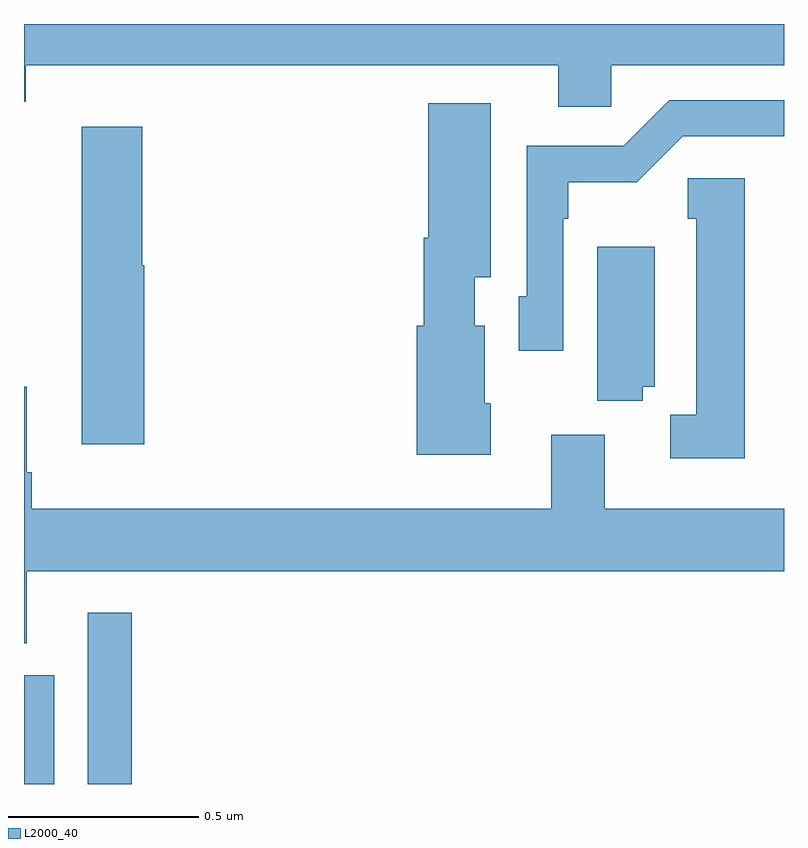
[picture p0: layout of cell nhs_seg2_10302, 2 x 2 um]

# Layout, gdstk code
import gdstk
lib = gdstk.Library(unit=1e-6, precision=1e-09)
def R(c, l, rs):  # rectangles x0, y0, x1, y1
    for r in rs: c.add(gdstk.rectangle(r[:2], r[2:], *l))
def P(c, l, *ps):  # polygons
    for p in ps: c.add(gdstk.Polygon(p, *l))
L2000_40 = (2000, 40)

nhs_seg2_10302 = lib.new_cell('nhs_seg2_10302')
R(nhs_seg2_10302, L2000_40, [(240,589.8,240.079,590.086), (240.168,589.8,240.284,590.251)])
P(nhs_seg2_10302, L2000_40, [(241.545,591.692),(242,591.692),(242,591.8),(240,591.8),(240,591.596),(240.005,591.596),(240.005,591.692),(241.406,591.692),(241.406,591.582),(241.545,591.582)],
  [(241.419,591.287),(241.432,591.287),(241.432,591.383),(241.613,591.383),(241.734,591.504),(242,591.504),(242,591.6),(241.698,591.6),(241.578,591.48),(241.323,591.48),(241.323,591.084),(241.302,591.084),(241.302,590.94),(241.419,590.94)],
  [(241.228,590.802),(241.212,590.802),(241.212,591.006),(241.186,591.006),(241.186,591.134),(241.228,591.134),(241.228,591.592),(241.064,591.592),(241.064,591.238),(241.052,591.238),(241.052,591.006),(241.034,591.006),(241.034,590.666),(241.228,590.666)],
  [(240.316,591.165),(240.311,591.165),(240.311,591.529),(240.152,591.529),(240.152,590.694),(240.316,590.694)],
  [(241.897,591.394),(241.747,591.394),(241.747,591.288),(241.769,591.288),(241.769,590.772),(241.701,590.772),(241.701,590.657),(241.897,590.657)],
  [(241.628,590.846),(241.66,590.846),(241.66,591.214),(241.508,591.214),(241.508,590.809),(241.628,590.809)],
  [(240.007,590.36),(242,590.36),(242,590.524),(241.528,590.524),(241.528,590.719),(241.388,590.719),(241.388,590.524),(240.02,590.524),(240.02,590.62),(240.007,590.62),(240.007,590.845),(240,590.845),(240,590.171),(240.007,590.171)])

lib.write_gds('nhs_seg2_10302.gds')
